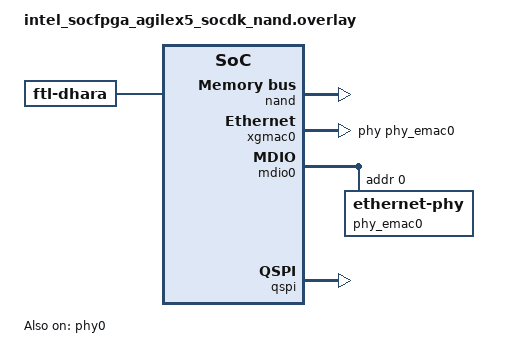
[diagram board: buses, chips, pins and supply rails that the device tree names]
/*
 * Copyright (C) 2026 Altera Corporation
 * SPDX-License-Identifier: Apache-2.0
 */

#include "intel_socfpga_agilex5_socdk.overlay"

/ {
	aliases {
		nand = &nand;
	};
};

/*
 * Agilex 5 combo PHY is muxed to either NAND or SDMMC.
 * Enable only one controller. NAND daughter card: PHY selected
 * for NAND (okay here); leave &sdmmc/mmc disabled.
 */
&nand {
	status = "okay";

	partitions {
		compatible = "fixed-partitions";
		#address-cells = <1>;
		#size-cells = <1>;

		nand_fip_partition: partition@0 {
			label = "fip";
			reg = <0x0 DT_SIZE_M(10)>;
		};

		nand_storage_partition: partition@a00000 {
			label = "storage";
			reg = <0x00a00000 0xff600000>;
		};
	};
};

/ {
	ftl {
		compatible = "zephyr,ftl-dhara";
		partition = <&nand_storage_partition>;
		disk-name = "NAND";
		/* Must be >= NAND page size (often 8 KiB or 16 KiB). */
		buffer-size = <16384>;
	};
};

&xgmac2 {
	status = "disabled";
};

&mdio2 {
	status = "disabled";
};

&phy0 {
	status = "okay";
};

&xgmac0 {
	status = "okay";
	full-duplex-mode-en;
	num-dma-ch = <1>;
	num-tx-queues = <1>;
	num-rx-queues = <1>;
	num-tc = <1>;
	dma-ch-rdrl = <128>;
	dma-ch-tdrl = <128>;
	max-speed = <1000>;
	max-frame-size = <9018>;
	jumbo-pkt-en;
	local-mac-address = [06 00 00 00 00 01];
	phy-handle = <&phy_emac0>;
};

&mdio0 {
	status = "okay";
	csr-clock-indx = <4>;

	phy_emac0: phy@0 {
		compatible = "ethernet-phy";
		reg = <0>;
		status = "okay";
	};
};

&qspi {
	status = "okay";
};

/*
 * Disabled the sdmmc node when combo_phy is selected for the
 * nand controller.
 */
&sdmmc {
	status = "disabled";

	mmc {
		/*SD Disk Access */
		compatible = "zephyr,sdmmc-disk";
		disk-name = "SD";
		status = "disabled";
	};
};
